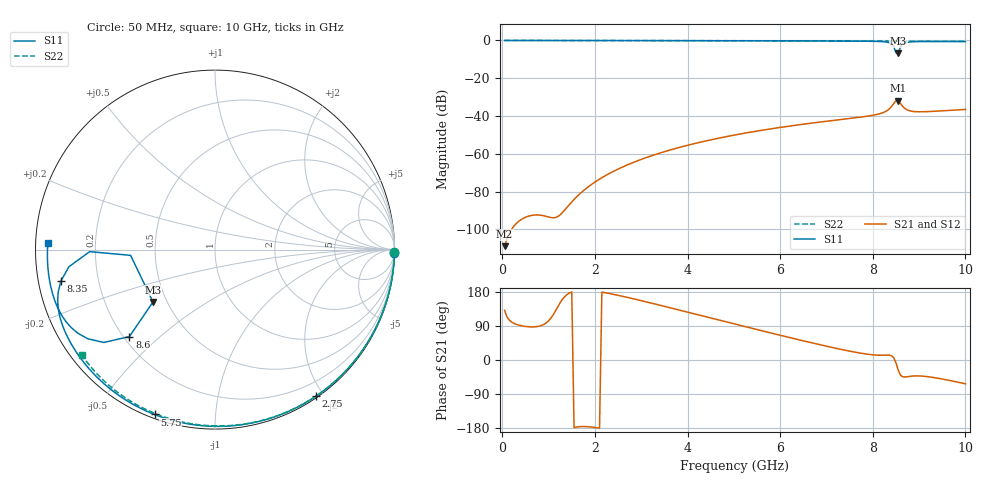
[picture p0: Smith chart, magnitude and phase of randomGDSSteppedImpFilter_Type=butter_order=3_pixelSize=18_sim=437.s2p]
! freq	dB(S11)	phase(S11)	dB(S12)	phase(S12)
!  dB(S21)	phase(S21)	dB(S22)	phase(S22)
!S-par simulation data
#  GHz  S  DB  R 50
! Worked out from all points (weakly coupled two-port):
!   200 points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, 50 MHz to 10 GHz, reference 50 ohm
!   highest |S21| = -31.82 dB at 8.55 GHz (marker M1); lowest = -108.9 dB at 50 MHz (marker M2)
!   lowest |S11| = -6.9 dB at 8.55 GHz (marker M3), VSWR 2.65, Z = 21 - j15.4 ohm
!   |S11| at or under -10 dB: nowhere
!   |S22| runs from -0.5 to 0.0 dB; largest |S21 - S12| = 0
!   S11 on the Smith chart (normalised r, x): 50 MHz: open; 2.75 GHz: 0.02, -1.91; 5.75 GHz: 0.02, -0.70; 8.35 GHz: 0.07, -0.10; 8.6 GHz: 0.22, -0.40; 10 GHz: 0.04, +0.02
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0.05  -0.00 -1.0  -108.95 131.3  -108.95 131.3  -0.00 -0.8
0.85  -0.02 -17.5  -92.63 91.3  -92.63 91.3  -0.02 -13.9
1.75  -0.05 -35.7  -79.58 -175.6  -79.58 -175.6  -0.04 -28.3
2.2  -0.06 -44.6  -71.96 178.1  -71.96 178.1  -0.05 -35.4
2.75  -0.07 -55.3  -65.39 163.8  -65.39 163.8  -0.06 -44.0
3.4  -0.09 -67.7  -59.66 144.7  -59.66 144.7  -0.07 -53.8
4.2  -0.12 -82.5  -54.32 120.2  -54.32 120.2  -0.09 -65.7
5.05  -0.15 -97.8  -49.93 94.0  -49.93 94.0  -0.12 -77.8
5.75  -0.19 -110.1  -47.00 72.8  -47.00 72.8  -0.15 -87.4
6.7  -0.25 -126.9  -43.71 44.8  -43.71 44.8  -0.19 -100.0
7.9  -0.41 -150.5  -40.03 15.0  -40.03 15.0  -0.27 -115.4
8.2  -0.62 -159.7  -38.43 12.6  -38.43 12.6  -0.30 -119.2
8.35  -1.15 -168.5  -36.40 12.9  -36.40 12.9  -0.31 -121.1
8.4  -1.73 -173.3  -35.13 11.6  -35.13 11.6  -0.31 -121.7
8.45  -3.12 -179.1  -33.45 6.4  -33.45 6.4  -0.32 -122.3
8.5  -6.53 -176.1  -31.84 -7.1  -31.84 -7.1  -0.32 -122.9
8.55  -6.89 -139.8  -31.82 -27.0  -31.82 -27.0  -0.32 -123.6
8.6  -3.35 -134.6  -33.41 -40.1  -33.41 -40.1  -0.33 -124.2
8.7  -1.25 -145.0  -36.15 -44.8  -36.15 -44.8  -0.34 -125.4
8.9  -0.66 -155.9  -37.68 -42.0  -37.68 -42.0  -0.36 -127.9
9.35  -0.56 -168.3  -37.48 -46.9  -37.48 -46.9  -0.40 -133.5
10  -0.61 177.7  -36.55 -62.8  -36.55 -62.8  -0.48 -141.5
